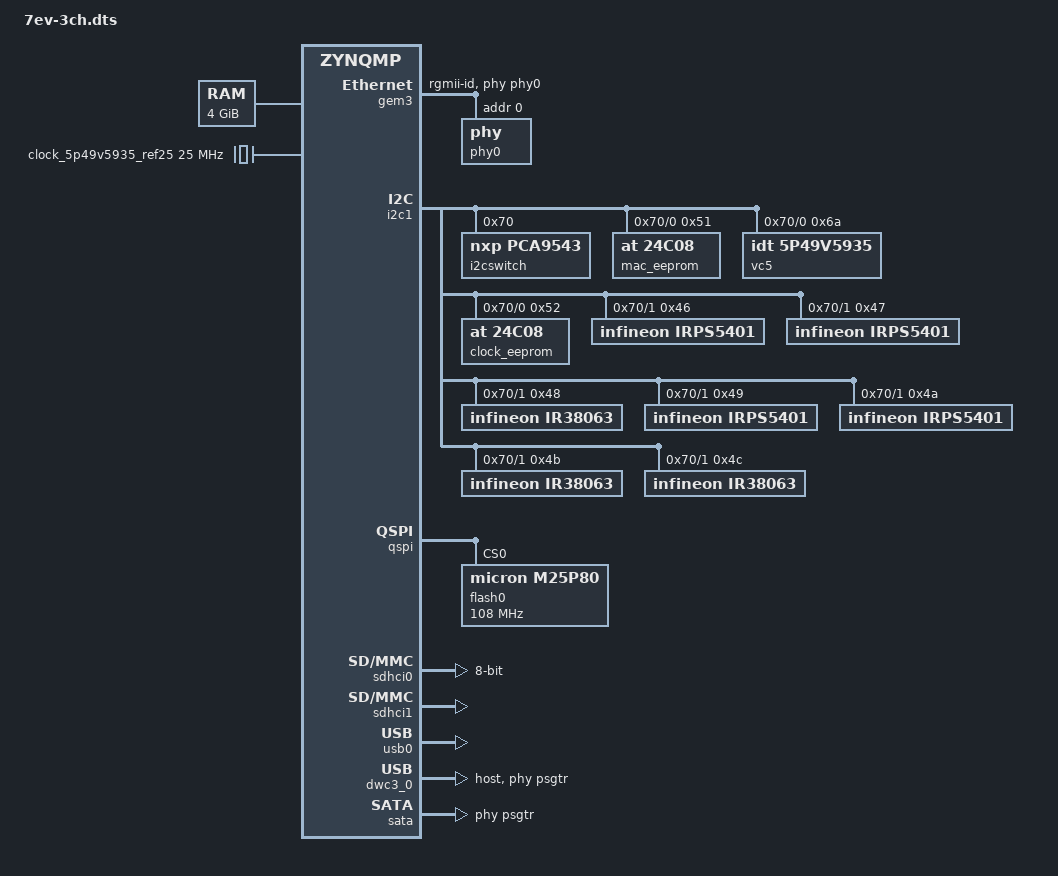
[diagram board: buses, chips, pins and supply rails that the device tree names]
/dts-v1/;
#include "zynqmp.dtsi"
#include "zynqmp-clk-ccf.dtsi"
#include "pl.dtsi"
#include "pcw.dtsi"
#include <dt-bindings/phy/phy.h>
#include <dt-bindings/input/input.h>
#include <dt-bindings/gpio/gpio.h>
#include <dt-bindings/pinctrl/pinctrl-zynqmp.h>
#include <dt-bindings/interrupt-controller/irq.h>

/* From include/dt-bindings/clk/versaclock.h */
#define VC5_LVPECL   0
#define VC5_CMOS  1
#define VC5_HCSL33   2
#define VC5_LVDS  3
#define VC5_CMOS2 4
#define VC5_CMOSD 5
#define VC5_HCSL25   6
/ {
	chosen {
		bootargs = "earlycon console=ttyPS0,115200 clk_ignore_unused root=/dev/mmcblk1p2 rw rootwait";
		stdout-path = "serial0:115200n8";
	};
	aliases {
		ethernet0 = &gem3;
		serial0 = &uart0;
		serial1 = &uart1;
		spi0 = &qspi;
	};
	memory {
		device_type = "memory";
		reg = <0x0 0x0 0x0 0x7ff00000>, <0x00000008 0x00000000 0x0 0x80000000>;
	};
	
   clock_5p49v5935_ref25: ref25m { /* 25MHz reference crystal (internal) - U3 */
      compatible = "fixed-clock";
      #clock-cells = <0>;
      clock-frequency = <25000000>;
   };

   gtr_clk0: gtr_clk0 { /* gtr_refclk0_pcie - 100MHz - U3 */
      compatible = "fixed-clock";
      #clock-cells = <0>;
      clock-frequency = <100000000>;
   };

   gtr_clk1: gtr_clk1 { /* gtr_refclk1_sata - 125MHz - U3 */
      compatible = "fixed-clock";
      #clock-cells = <0>;
      clock-frequency = <125000000>;
   };

   gtr_clk2: gtr_clk2 { /* gtr_refclk2_usb - 52MHz - U3 */
      compatible = "fixed-clock";
      #clock-cells = <0>;
      clock-frequency = <52000000>;
   };

   gtr_clk3: gtr_clk3 { /* gtr_refclk3_dp - 27MHz - U3 */
      compatible = "fixed-clock";
      #clock-cells = <0>;
      clock-frequency = <27000000>;
   };
};

&fpd_dma_chan1 {
	status = "okay";
	#dma-cells = <1>;
	xlnx,bus-width = <128>;
};

&fpd_dma_chan2 {
	status = "okay";
	#dma-cells = <1>;
	xlnx,bus-width = <128>;
};

&fpd_dma_chan3 {
	status = "okay";
	#dma-cells = <1>;
	xlnx,bus-width = <128>;
};
    
&amba_pl {
	cc7ev_system: cc7ev_system@80130000 {
	   compatible = "cc7ev_system-1.0";
   	   reg = <0x0 0x80130000 0x0 0x10000>;
       interrupt-parent = <&gic>;
       interrupts = <0 90 1>;
       num_channels = <3>;
    };
	ch0: channel@80000000 {
	      compatible = "channel-1.0";
	      clock-names = "axi_lite_aclk";
	      clocks = <&misc_clk_0>, <&misc_clk_0>;
	      reg = <0x0 0x80000000 0x0 0x10000>,
                <0x0 0x80040000 0x0 0x10000>,
                <0x0 0x80030000 0x0 0x10000>;
          reg-names = "channel_in", "channel_out", "line_test";                                        
 		  channel_number = <0>;
		  refclk_hz = <300000000>;
          pcmout_init_bitrate = <1000000>;
		  pcmout_c_polarity = <0>;
		  pcmout_d_polarity = <0>;
    };
	ch1: channel@80010000 {
	      compatible = "channel-1.0";
	      clock-names = "axi_lite_aclk";
	      clocks = <&misc_clk_0>, <&misc_clk_0>;
	      reg = <0x0 0x80010000 0x0 0x10000>,
                <0x0 0x80050000 0x0 0x10000>,
                <0x0 0x80070000 0x0 0x10000>;
          reg-names = "channel_in", "channel_out", "line_test";                                        
 		  channel_number = <1>;
		  refclk_hz = <300000000>;
          pcmout_init_bitrate = <1000000>;
		  pcmout_c_polarity = <0>;
		  pcmout_d_polarity = <0>;
    };
	ch2: channel@80020000 {
	      compatible = "channel-1.0";
	      clock-names = "axi_lite_aclk";
	      clocks = <&misc_clk_0>, <&misc_clk_0>;
	      reg = <0x0 0x80020000 0x0 0x10000>,
                <0x0 0x80060000 0x0 0x10000>,
                <0x0 0x800a0000 0x0 0x10000>;
          reg-names = "channel_in", "channel_out", "line_test";                                        
 		  channel_number = <2>;
		  refclk_hz = <300000000>;
          pcmout_init_bitrate = <1000000>;
		  pcmout_c_polarity = <0>;
		  pcmout_d_polarity = <0>;
    };
	clocktrack0: clocktrack@80090000 {
	      compatible = "clocktrack-1.0";
	      clock-names = "axi_lite_aclk";
	      clocks = <&misc_clk_0>, <&misc_clk_0>;
     	  reg = <0x0 0x80090000 0x0 0x10000>;
		  en0 = <1>;
		  en1 = <1>;
		  en2 = <1>;
		  en3 = <0>;
	      setpointhi0 = <300000>;
		  setpointhi1 = <300000>;
		  setpointhi2 = <300000>;
		  setpointhi3 = <300000>;
	      setpointcenter0 = <250000>;
		  setpointcenter1 = <250000>;
		  setpointcenter2 = <250000>;
		  setpointcenter3 = <250000>;
	      setpointlow0 = <200000>;
		  setpointlow1 = <200000>;
		  setpointlow2 = <200000>;
		  setpointlow3 = <200000>;
    };
    dma_central0: dma_central@80080000 {
          compatible = "dma_central-1.0";
	      clock-names = "axi_lite_aclk", "axis_in_aclk";
          clocks = <&misc_clk_0>, <&misc_clk_0>;
          interrupt-parent = <&gic>;
          interrupts = <0 89 1>;
          reg = <0x0 0x80080000 0x0 0x1000 0x0 0xa0000000 0x0 0x100000>;
          start_channel = <0>;
          num_channels = <3>;
          int_retry_cnt = <500000>;
          dmas = <&fpd_dma_chan1 0>;
          dma-names = "dma";
	};
};

&gpio {
	status = "okay";
};

&gem3 {
	phy-mode = "rgmii-id";
	status = "okay";
	xlnx,ptp-enet-clock = <0x0>;
	local-mac-address = [00 0a 35 00 02 90];
	phy-mode = "rgmii-id";
	phy-handle = <&phy0>;
	phy0: phy@0 {
		reg = <0x0>;
		ti,rx-internal-delay = <0x5>;
		ti,tx-internal-delay = <0x5>;
		ti,fifo-depth = <0x1>;
	};
};

&i2c1 {
   i2cswitch@70 { /* U7 on UZ3EG SOM, U8 on UZ7EV SOM */
      compatible = "nxp,pca9543";
      #address-cells = <1>;
      #size-cells = <0>;
      reg = <0x70>;
      i2c@0 { /* i2c mw 70 0 1 */
         #address-cells = <1>;
         #size-cells = <0>;
         reg = <0>;
         /* Ethernet MAC ID EEPROM */
         mac_eeprom@51 { /* U5 on UZ3EG IOCC & PCIEC and U7 on the UZ7EV EVCC */
            compatible = "at,24c08";
            reg = <0x51>;
         };

         vc5: clock-generator@6a { /* IDT (Renesas) 5P49V5935 I2C clock generator */
            compatible = "idt,5p49v5935";
            reg = <0x6a>;
            #clock-cells = <1>;

            /* Connect XIN input to 25MHz reference */
            clocks = <&clock_5p49v5935_ref25>;
            clock-names = "xin";

            OUT3 { /* USB3 */
               idt,drive-mode = <VC5_CMOSD>; 
               idt,voltage-microvolts = <1800000>;
               idt,slew-percent = <80>;
            };
         };

         
         clock_eeprom@52 { /* U5 on the UZ7EV EVCC */
            compatible = "at,24c08";
            reg = <0x52>;
         };
      };

      i2c@1 {
         #address-cells = <0x1>;
         #size-cells = <0x0>;
         reg = <0x1>;

         irps5401@46 { /* IRPS5401 - U24 on UZ7EV SOM*/
            compatible = "infineon,irps5401";
            reg = <0x46>;
         };

         irps5401@47 { /* IRPS5401 - U25 on UZ7EV SOM*/
            compatible = "infineon,irps5401";
            reg = <0x47>;
         };

         ir38063@48 { /* IR38063 - U26 on UZ7EV SOM*/
            compatible = "infineon,ir38063";
            reg = <0x48>;
         };

         irps5401@49 { /* IRPS5401 - U21 on UZ7EV EVCC*/
            compatible = "infineon,irps5401";
            reg = <0x49>;
         };
         irps5401@4a { /* IRPS5401 - U22 on UZ7EV EVCC*/
            compatible = "infineon,irps5401";
            reg = <0x4a>;
         };

         ir38063@4b { /* IR38063 - U18 on UZ7EV EVCC*/
            compatible = "infineon,ir38063";
            reg = <0x4b>;
         };

         ir38063@4c { /* IR38063 - U19 on UZ7EV EVCC*/
            compatible = "infineon,ir38063";
            reg = <0x4c>;
         };
      };
   };
};


&qspi {
   #address-cells = <1>;
   #size-cells = <0>;
   status = "okay";
   is-dual = <1>; /* Set for dual-parallel QSPI config */
   num-cs = <2>;
   xlnx,fb-clk = <0x1>;
   flash0: flash@0 {
      /* The Flash described below doesn't match our board ("micron,n25qu256a"), but is needed */
      /* so the Flash MTD partitions are correctly identified in /proc/mtd */
      compatible = "micron,m25p80","jedec,spi-nor"; /* 32MB */
      #address-cells = <1>;
      #size-cells = <1>;
      reg = <0x0>;
      spi-tx-bus-width = <1>;
      spi-rx-bus-width = <4>; /* FIXME also DUAL configuration possible */
      spi-max-frequency = <108000000>; /* Set to 108000000 Based on DC1 spec */
   };
};

/* SD0 eMMC, 8-bit wide data bus */
&sdhci0 {
   status = "okay";
   bus-width = <8>;
   max-frequency = <50000000>;
};

/* SD1 with level shifter */
&sdhci1 {
   status = "okay";
   max-frequency = <50000000>;
   no-1-8-v;   /* for 1.0 silicon */
};

&psgtr {
   /* PCIE, SATA, USB3, DP */
   clocks = <&gtr_clk0>, <&gtr_clk1>, <&gtr_clk2>, <&gtr_clk3>;
   clock-names = "ref0", "ref1", "ref2", "ref3";
};

/* ULPI SMSC USB3320 */
&usb0 {
   status = "okay";
};

&dwc3_0 {
   status = "okay"; 
   dr_mode = "host";
   maximum-speed = "super-speed"; 
   snps,usb3_lpm_capable; 
   snps,enable_auto_retry; 
   phy-names = "usb3-phy"; 
   /* <psgtr_phandle> <lane_number> <controller_type> <instance> <refclk> */
   phys = <&psgtr 2 PHY_TYPE_USB3 0 2>;
};

&sata {
/*   status = "okay"; */
   phy-names = "sata-phy";
   /* <psgtr_phandle> <lane_number> <controller_type> <instance> <refclk> */
   phys = <&psgtr 1 PHY_TYPE_SATA 1 1>;
};
